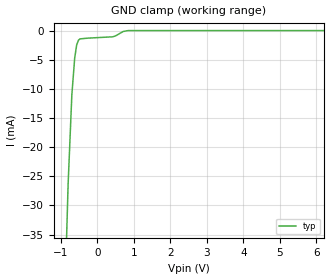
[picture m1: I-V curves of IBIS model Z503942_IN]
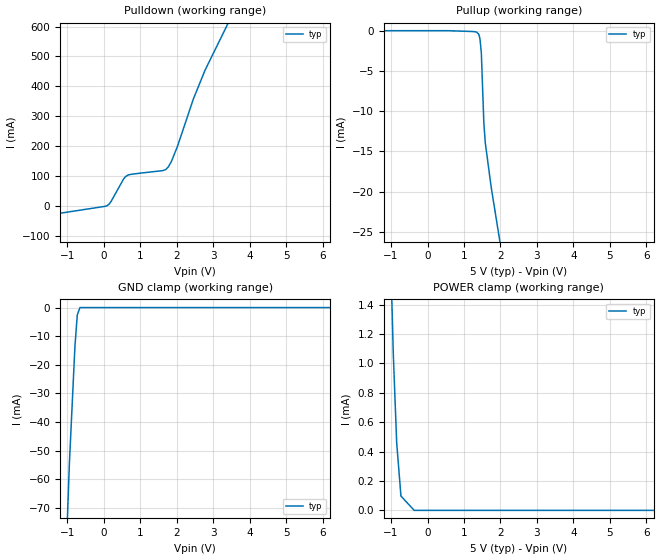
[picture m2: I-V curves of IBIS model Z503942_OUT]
| YOU ARE ONLY AUTHORIZED TO USE THIS SOFTWARE
| ACCORDING TO LICENSOR'S LICENSE RESTRICTIONS.
[IBIS Ver] 3.1
[File Name] mc54f74j.ibs
[File Rev] 2.0
[Source] Measured and created by ICX Technology
[Date] Friday 7/14/00 9:08:03 AM
[Copyright]
| (C) COPYRIGHT 1993-2000
| MENTOR GRAPHICS CORPORATION
| ICX STANDARD LIBRARY, ICX PROJECT MODELING,
| ICX CUSTOM MODELING, ICX VENDOR MODEL
| ALL RIGHTS RESERVED.
| THE FOLLOWING ARE TRADEMARKS OR SERVICE MARKS OF
| MENTOR GRAPHICS CORPORATION:ICX (R), ICX STANDARD
| LIBRARY(R), ICX PROJECT MODELING(R), ICX CUSTOM
| MODELING(R), qualityIBIS(TM), MODELVIEWER(TM),
| AND MODELEDITOR(TM)
| ALL COPIES OF SOFTWARE, INCLUDING BUT NOT LIMITED TO
| ANY MODIFICATIONS, ENHANCEMENTS OR DERIVATIVE WORKS,
| MUST CONTAIN ALL MENTOR GRAPHICS CORPORATION'S
| NOTICES AND LEGENDS, INCLUDING THOSE EMBEDDED IN
| SOFTWARE AND THOSE AFFIXED TO SOFTWARE MEDIUM
| AND CONTAINER, AS RECEIVED FROM MENTOR GRAPHICS
| CORPORATION.
|  ZAP Model Builder 2.7
[Component] MC54F74J
[Manufacturer] OnSemiconductor
[Package]
| variable   typ   min   max
R_pkg  .21ohms NA NA
L_pkg  4.543nH NA NA
C_pkg  1.8pF NA NA
[Pin] signal_name  model_name  R_pin  L_pin C_pin
1 _CLR Z503942_IN .22 6.757n 2.434p
2 D Z503942_IN .212 4.757n 1.941p
3 CLK Z503942_IN .204 3.257n 1.448p
4 _PRE Z503942_IN .196 2.257n .955p
5 Q Z503942_OUT .204 3.257n 1.448p
6 _Q Z503942_OUT .212 4.757n 1.941p
7 GND GND .22 6.757n 2.434p
8 _Q Z503942_OUT .22 6.757n 2.434p
9 Q Z503942_OUT .212 4.757n 1.941p
10 _PRE Z503942_IN .204 3.257n 1.448p
11 CLK Z503942_IN .196 2.257n .955p
12 D Z503942_IN .204 3.257n 1.448p
13 _CLR Z503942_IN .212 4.757n 1.941p
14 VCC POWER .22 6.757n 2.434p
| Models and submodels in the file (2): Z503942_IN (Input), Z503942_OUT (Output)
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| (C) COPYRIGHT 1993-2000
| MENTOR GRAPHICS CORPORATION
| ICX STANDARD LIBRARY, ICX PROJECT MODELING,
| ICX CUSTOM MODELING, ICX VENDOR MODEL
| ALL RIGHTS RESERVED.
| THE FOLLOWING ARE TRADEMARKS OR SERVICE MARKS OF
| MENTOR GRAPHICS CORPORATION:ICX (R), ICX STANDARD
| LIBRARY(R), ICX PROJECT MODELING(R), ICX CUSTOM
| MODELING(R), qualityIBIS(TM), MODELVIEWER(TM),
| AND MODELEDITOR(TM)
| ALL COPIES OF SOFTWARE, INCLUDING BUT NOT LIMITED TO
| ANY MODIFICATIONS, ENHANCEMENTS OR DERIVATIVE WORKS,
| MUST CONTAIN ALL MENTOR GRAPHICS CORPORATION'S
| NOTICES AND LEGENDS, INCLUDING THOSE EMBEDDED IN
| SOFTWARE AND THOSE AFFIXED TO SOFTWARE MEDIUM
| AND CONTAINER, AS RECEIVED FROM MENTOR GRAPHICS
| CORPORATION.
| Model Application Version 1.89 2/18/99.
[Model] Z503942_IN
Model_type Input
Vinl = 800.0mV
Vinh = 2.000V
C_comp 4.000pF NA NA
| variable typ   min   max
[Voltage Range] 5.000V NA NA
[GND Clamp Reference] 0.000V NA NA
[POWER Clamp Reference] 5.000V NA NA
[GND Clamp]
-5V       -940mA     NA         NA
-800.5mV  -26.38mA   NA         NA
-697.9mV  -10.97mA   NA         NA
-620mV    -4.689mA   NA         NA
-565.9mV  -2.441mA   NA         NA
-514.8mV  -1.616mA   NA         NA
-472.3mV  -1.414mA   NA         NA
419.9mV   -1.064mA   NA         NA
707.9mV   -147.4uA   NA         NA
846.6mV   7.686uA    NA         NA
10V       7.686uA    NA         NA
[POWER Clamp]
-5V       0A         NA         NA
10V       0A         NA         NA
| (C) COPYRIGHT 1993-2000
| MENTOR GRAPHICS CORPORATION
| ICX STANDARD LIBRARY, ICX PROJECT MODELING,
| ICX CUSTOM MODELING, ICX VENDOR MODEL
| ALL RIGHTS RESERVED.
| THE FOLLOWING ARE TRADEMARKS OR SERVICE MARKS OF
| MENTOR GRAPHICS CORPORATION:ICX (R), ICX STANDARD
| LIBRARY(R), ICX PROJECT MODELING(R), ICX CUSTOM
| MODELING(R), qualityIBIS(TM), MODELVIEWER(TM),
| AND MODELEDITOR(TM)
| ALL COPIES OF SOFTWARE, INCLUDING BUT NOT LIMITED TO
| ANY MODIFICATIONS, ENHANCEMENTS OR DERIVATIVE WORKS,
| MUST CONTAIN ALL MENTOR GRAPHICS CORPORATION'S
| NOTICES AND LEGENDS, INCLUDING THOSE EMBEDDED IN
| SOFTWARE AND THOSE AFFIXED TO SOFTWARE MEDIUM
| AND CONTAINER, AS RECEIVED FROM MENTOR GRAPHICS
| CORPORATION.
| Model Application Version 1.89 2/18/99.
[Model] Z503942_OUT
Model_type Output
Vref=0.000V
Rref=500.0ohms
Cref=50.00pF
Vmeas=1.500V
C_comp 8.000pF NA NA
| variable typ   min   max
[Voltage Range] 5.000V NA NA
[POWER Clamp Reference] 5.000V NA NA
[Pullup Reference] 5.000V NA NA
[Pulldown Reference] 0.000V NA NA
[GND Clamp Reference] 0.000V NA NA
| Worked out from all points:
|   slope of the pulldown table from 0 to 0.75 V, typ, clamps not added: 6.97 ohm
|   slope of the pullup table from 0 to 0.75 V, typ, clamps not added: 26.7 kohm
|   GND clamp passes 1 mA (typ) near -0.69 V on its own axis
|   POWER clamp passes 1 mA (typ) near -0.93 V on its own axis
[GND Clamp]
-5V       -1.738A    NA         NA
-1.103V   -110.3mA   NA         NA
-947.2mV  -54.53mA   NA         NA
-794.9mV  -13.56mA   NA         NA
-730.6mV  -2.572mA   NA         NA
-657.5mV  0A         NA         NA
10V       0A         NA         NA
[Pulldown]
-5V       -95.79mA   NA         NA
87.66mV   901.5uA    NA         NA
195.1mV   14.83mA    NA         NA
532.3mV   88.75mA    NA         NA
639.6mV   101.9mA    NA         NA
1.616V    118.1mA    NA         NA
1.763V    130.3mA    NA         NA
1.846V    148mA      NA         NA
2.012V    198.2mA    NA         NA
2.451V    357.8mA    NA         NA
2.769V    453.6mA    NA         NA
10V       2.251A     NA         NA
[Pullup]
-5V       9.19uA     NA         NA
566mV     9.19uA     NA         NA
1.26V     -96.87uA   NA         NA
1.343V    -162.7uA   NA         NA
1.401V    -397.6uA   NA         NA
1.435V    -916.7uA   NA         NA
1.475V    -2.72mA    NA         NA
1.544V    -11.46mA   NA         NA
1.582V    -13.87mA   NA         NA
1.743V    -19.39mA   NA         NA
10V       -253.2mA   NA         NA
[POWER Clamp]
-5V       45.07mA    NA         NA
-1.049V   2.093mA    NA         NA
-937mV    1.062mA    NA         NA
-845mV    461.7uA    NA         NA
-728mV    97.41uA    NA         NA
-364mV    0A         NA         NA
10V       0A         NA         NA
[Ramp]
| variable typ min max
dV/dt_r 2.057/2.300n NA NA
dV/dt_f 2.057/2.184n NA NA
R_load = 500.0Ohms
